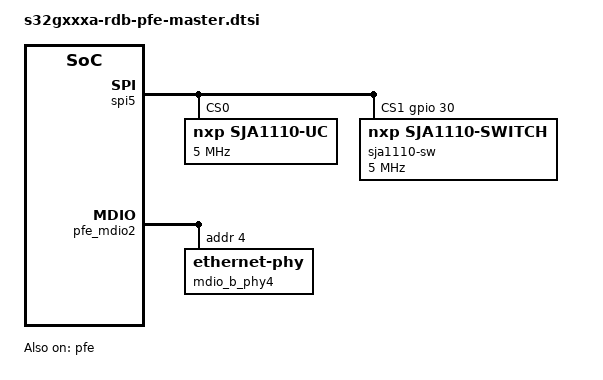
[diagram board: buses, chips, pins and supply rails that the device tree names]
// SPDX-License-Identifier: (GPL-2.0+ OR BSD-3-Clause)
/*
 * Copyright 2025 NXP
 */

&spi5 {
	pinctrl-names = "default";
	pinctrl-0 = <&dspi5_pins>;
	#address-cells = <1>;
	#size-cells = <0>;
	status = "okay";

	/* 1 hardware cs and 1 gpio cs*/
	spi-num-chipselects = <1>;
	cs-gpios = <0>, <&gpio 30 0>;

	sja1110-uc@0 {
		compatible = "nxp,sja1110-uc";
		spi-max-frequency = <5000000>;
		fsl,spi-cs-sck-delay = <50>;
		fsl,spi-sck-cs-delay = <50>;
		reg = <0>;
	};

	sja1110-sw@1 {
		compatible = "nxp,sja1110-switch";
		spi-max-frequency = <5000000>;
		fsl,spi-cs-sck-delay = <50>;
		fsl,spi-sck-cs-delay = <50>;
		reg = <1>;
	};
};

&pfe {
	status = "okay";
	pinctrl-0 = <&pfe2_mdio_pins>, <&pfe2_pins>;
	pinctrl-1 = <&pfe2_mdio_pins>;
	pinctrl-names = "default", "pfe_sgmii";
};

&pfe_mdio0 {
	/* unused */
	status = "disabled";
};

&pfe_mdio1 {
	/* occupied by GMAC0 */
	status = "disabled";
};

&pfe_mdio2 {
	status = "okay";
	#address-cells = <1>;
	#size-cells = <0>;
	/* AR8035 */
	mdio_b_phy4: ethernet-phy@4 {
		reg = <4>;
	};
	/* SJA1110's phys: 0x09-0x0e */
};

&pfe_netif0 {
	phy-mode = "sgmii";
	fixed-link {
		speed = <2500>;
		full-duplex;
	};
};

&pfe_netif1 {
	phy-mode = "sgmii";
};

&pfe_netif2 {
	phy-mode = "rgmii-id";
	phy-handle = <&mdio_b_phy4>;
};
